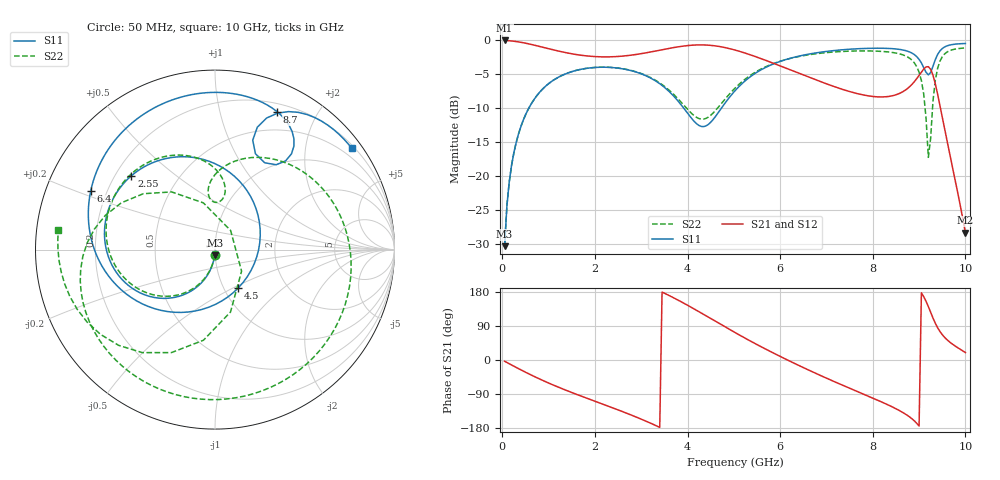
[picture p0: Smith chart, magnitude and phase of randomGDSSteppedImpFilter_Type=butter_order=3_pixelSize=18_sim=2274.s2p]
! freq	dB(S11)	phase(S11)	dB(S12)	phase(S12)
!  dB(S21)	phase(S21)	dB(S22)	phase(S22)
!S-par simulation data
#  GHz  S  DB  R 50
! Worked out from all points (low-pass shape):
!   200 points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, 50 MHz to 10 GHz, reference 50 ohm
!   highest |S21| = -0.01 dB at 50 MHz (marker M1); lowest = -28.3 dB at 10 GHz (marker M2)
!   |S21| within 3 dB of the highest: start of sweep to 5.715 GHz
!   lowest |S11| = -30.3 dB at 50 MHz (marker M3), VSWR 1.06, Z = 49.7 - j3.03 ohm
!   |S11| at or under -10 dB: start of sweep to 571.6 MHz; 3.92 GHz to 4.73 GHz (809.7 MHz wide, 18.7 % of centre)
!   |S22| runs from -30.3 to -1.1 dB; largest |S21 - S12| = 0
!   S11 on the Smith chart (normalised r, x): 50 MHz: 0.99, -0.06; 2.55 GHz: 0.26, +0.36; 4.5 GHz: 1.17, -0.53; 6.4 GHz: 0.14, +0.22; 8.7 GHz: 0.28, +1.51; 10 GHz: 0.27, +3.01
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0.05  -30.31 -93.4  -0.01 -3.3  -0.01 -3.3  -30.31 -93.5
0.2  -18.41 -103.3  -0.08 -13.2  -0.08 -13.2  -18.41 -104.0
0.5  -10.99 -121.8  -0.41 -32.2  -0.41 -32.2  -10.99 -123.5
1.75  -4.19 174.7  -2.23 -97.4  -2.23 -97.4  -4.19 169.5
2.55  -4.13 138.5  -2.34 -134.0  -2.34 -134.0  -4.12 133.1
3.4  -6.38 90.3  -1.44 -177.8  -1.44 -177.8  -6.26 95.1
3.95  -10.27 38.6  -0.80 147.9  -0.80 147.9  -9.76 80.0
4.5  -12.06 -58.4  -0.73 109.5  -0.73 109.5  -11.03 95.1
5.05  -7.23 -127.5  -1.46 70.7  -1.46 70.7  -6.87 85.4
5.7  -3.93 -171.6  -2.97 28.0  -2.97 28.0  -3.84 45.3
6.4  -2.32 154.8  -4.82 -14.3  -4.82 -14.3  -2.38 -4.7
6.7  -1.92 142.4  -5.62 -31.4  -5.62 -31.4  -2.03 -26.3
7.55  -1.28 109.8  -7.63 -77.1  -7.63 -77.1  -1.57 -85.2
8.35  -1.18 80.0  -8.25 -119.6  -8.25 -119.6  -1.71 -139.0
8.7  -1.49 65.7  -7.34 -142.3  -7.34 -142.3  -2.26 -166.9
8.95  -2.40 54.6  -5.62 -167.0  -5.62 -167.0  -3.88 162.6
9.1  -3.99 51.5  -4.21 167.1  -4.21 167.1  -7.91 126.9
9.2  -5.08 60.2  -3.87 141.0  -3.87 141.0  -17.23 50.8
9.25  -4.73 67.1  -4.26 125.8  -4.26 125.8  -14.40 -39.0
9.45  -1.55 65.4  -9.57 75.3  -9.57 75.3  -3.07 -125.2
9.65  -0.70 52.9  -16.32 48.5  -16.32 48.5  -1.54 -156.7
10  -0.46 36.6  -28.34 19.7  -28.34 19.7  -1.11 172.8
